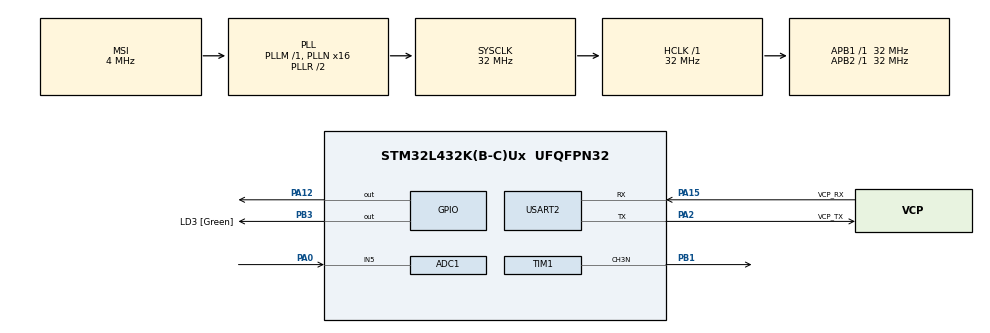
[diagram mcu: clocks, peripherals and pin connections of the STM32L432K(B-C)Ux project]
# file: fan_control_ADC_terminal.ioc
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ADC1.Channel-0\#ChannelRegularConversion=ADC_CHANNEL_5
ADC1.NbrOfConversionFlag=1
ADC1.OffsetNumber-0\#ChannelRegularConversion=ADC_OFFSET_NONE
ADC1.Rank-0\#ChannelRegularConversion=1
ADC1.SamplingTime-0\#ChannelRegularConversion=ADC_SAMPLETIME_2CYCLES_5
ADC1.master=1
Mcu.Family=STM32L4
Mcu.Name=STM32L432K(B-C)Ux
Mcu.Package=UFQFPN32
NVIC.PriorityGroup=NVIC_PRIORITYGROUP_4
NVIC.TIM1_UP_TIM16_IRQn=true\:0\:0\:false\:false\:true\:true\:true\:true
PA0.Signal=ADCx_IN5
PA12.Signal=GPIO_Output
PA13\ (JTMS-SWDIO).GPIO_Label=SWDIO
PA13\ (JTMS-SWDIO).Mode=Serial_Wire
PA13\ (JTMS-SWDIO).Signal=SYS_JTMS-SWDIO
PA14\ (JTCK-SWCLK).GPIO_Label=SWCLK
PA14\ (JTCK-SWCLK).Mode=Serial_Wire
PA14\ (JTCK-SWCLK).Signal=SYS_JTCK-SWCLK
PA15\ (JTDI).GPIO_Label=VCP_RX
PA15\ (JTDI).Mode=Asynchronous
PA15\ (JTDI).Signal=USART2_RX
PA2.GPIO_Label=VCP_TX
PA2.Mode=Asynchronous
PA2.Signal=USART2_TX
PB1.Mode=PWM Generation3 CH3N
PB1.Signal=TIM1_CH3N
PB3\ (JTDO-TRACESWO).GPIO_Label=LD3 [Green]
PB3\ (JTDO-TRACESWO).Signal=GPIO_Output
PC14-OSC32_IN\ (PC14).Mode=LSE-External-Oscillator
PC14-OSC32_IN\ (PC14).Signal=RCC_OSC32_IN
PC15-OSC32_OUT\ (PC15).Mode=LSE-External-Oscillator
PC15-OSC32_OUT\ (PC15).Signal=RCC_OSC32_OUT
ProjectManager.HeapSize=0x200
ProjectManager.StackSize=0x400
ProjectManager.TargetToolchain=STM32CubeIDE
RCC.ADCFreq_Value=32000000
RCC.AHBFreq_Value=32000000
RCC.APB1Freq_Value=32000000
RCC.APB1TimFreq_Value=32000000
RCC.APB2Freq_Value=32000000
RCC.APB2TimFreq_Value=32000000
RCC.CortexFreq_Value=32000000
RCC.HCLKFreq_Value=32000000
RCC.HSE_VALUE=8000000
RCC.HSI16_VALUE=16000000
RCC.HSI48_VALUE=48000000
RCC.HSI_VALUE=16000000
RCC.MSI_VALUE=4000000
RCC.PLLMUL=RCC_PLLMUL_4
RCC.PLLN=16
RCC.PLLSAI1N=16
RCC.SYSCLKFreq_VALUE=32000000
RCC.SYSCLKSource=RCC_SYSCLKSOURCE_PLLCLK
RCC.USBFreq_Value=32000000
RCC.VCOOutputFreq_Value=64000000
SH.ADCx_IN5.0=ADC1_IN5,IN5-Single-Ended
TIM1.Channel-PWM\ Generation3\ CH3N=TIM_CHANNEL_3
TIM1.Period=255
TIM16.Period=32000-1
TIM16.Prescaler=1000-1
USART2.VirtualMode-Asynchronous=VM_ASYNC
VP_TIM16_VS_ClockSourceINT.Mode=Enable_Timer
VP_TIM1_VS_ClockSourceINT.Mode=Internal
board=NUCLEO-L432KC

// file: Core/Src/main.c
/* USER CODE BEGIN Header */
/**
  ******************************************************************************
  * @file           : main.c
  * @brief          : Main program body
  ******************************************************************************
  * @attention
  *
  * Copyright (c) 2024 STMicroelectronics.
  * All rights reserved.
  *
  * This software is licensed under terms that can be found in the LICENSE file
  * in the root directory of this software component.
  * If no LICENSE file comes with this software, it is provided AS-IS.
  *
  ******************************************************************************
  */
/* USER CODE END Header */
#include "main.h"

/* USER CODE BEGIN Includes */
#include "uart_read_app.h"
#include "uart_send_app.h"
#include "adc_read_app.h"
#include "conversions.h"
/* USER CODE END Includes */

ADC_HandleTypeDef hadc1;

TIM_HandleTypeDef htim1;
TIM_HandleTypeDef htim16;

UART_HandleTypeDef huart2;

void SystemClock_Config(void);
static void MX_GPIO_Init(void);
static void MX_USART2_UART_Init(void);
static void MX_TIM1_Init(void);
static void MX_TIM16_Init(void);
static void MX_ADC1_Init(void);

/* USER CODE BEGIN 0 */
int counter = 0;
int methodChosen = 0;
int adc_value = 0;
int percentage = 0;

int dataReceivedBool = 0;
int method1Bool = 1;
int method2Bool = 1;

uint8_t nextline[] = "\n";

/**
  * @brief  Controls the fan using potentiometer readings.
  * @param  None
  * @return None
  */

void PotControl(void)
{
    char str[20];

    adc_value = adc_read() / 16;

    if (adc_value > 0 && adc_value < 255)
    {
        __HAL_TIM_SET_COMPARE(&htim1, TIM_CHANNEL_3, adc_value);

        adc_value = adc_value / 2.55;
        int_to_string(adc_value, str);

        uint8_t msg1[] = "Potentiometer is set to %";
        HAL_UART_Transmit(&huart2, msg1, sizeof(msg1) - 1, HAL_MAX_DELAY);

        transmit_string(&huart2, str);

        HAL_UART_Transmit(&huart2, nextline, sizeof(nextline) - 1, HAL_MAX_DELAY);
    }
    else
    {
        uint8_t msg[] = "Readings are out of bounds! Please move the potentiometer to the readable zone.\n";
        HAL_UART_Transmit(&huart2, msg, sizeof(msg) - 1, HAL_MAX_DELAY);
    }
}

/**
  * @brief  Reads the terminal input and stores it in a variable. Resets the timer
  * @param  None
  * @return None
  */
void TerminalControl(void)
{
    percentage = read_data(&huart2);

    uint8_t msg5[] = "Input received. Fan speed will be set in 5 seconds.\n";
    HAL_UART_Transmit(&huart2, msg5, sizeof(msg5) - 1, HAL_MAX_DELAY);

    __HAL_TIM_SET_COUNTER(&htim16, 0);

    dataReceivedBool = 1;

    counter = 0;
}

/**
  * @brief  Period elapsed callback in non-blocking mode. Time depended operations happen here
  * @param  htim: TIM handle
  * @return None
  */
void HAL_TIM_PeriodElapsedCallback(TIM_HandleTypeDef *htim)
{
    if(htim == &htim16)
    {
        HAL_GPIO_TogglePin(GPIOA,GPIO_PIN_12);

        if (methodChosen == 2)
        {
            PotControl();
        }

        counter++;
    }

    if(counter == 5)
    {
        if (methodChosen == 1 && dataReceivedBool == 1)
        {
            char str[20];

            __HAL_TIM_SET_COMPARE(&htim1, TIM_CHANNEL_3, percentage * 2.55);

            uint8_t msg3[] = "Fan speed has been set to %";
            HAL_UART_Transmit(&huart2, msg3, sizeof(msg3) - 1, HAL_MAX_DELAY);

            int_to_string(percentage, str);
            transmit_string(&huart2, str);

            HAL_UART_Transmit(&huart2, nextline, sizeof(nextline) - 1, HAL_MAX_DELAY);
            HAL_UART_Transmit(&huart2, nextline, sizeof(nextline) - 1, HAL_MAX_DELAY);

            dataReceivedBool = 0;

            uint8_t msg4[] = "Please enter the desired fan speed (%)\n";
            HAL_UART_Transmit(&huart2, msg4, sizeof(msg4) - 1, HAL_MAX_DELAY);

            counter = 0;
        }
    }
}

/**
  * @brief  Main program loop
  * @param  None
  * @return None
  */
void ProgramLoop(void)
{
    if (methodChosen == 0)
    {
        uint8_t msg[] = "Please Enter 1 for fan control via terminal or 2 for fan control via potentiometer:\n";
        HAL_UART_Transmit(&huart2, msg, sizeof(msg) - 1, HAL_MAX_DELAY);

        methodChosen = read_data(&huart2);
    }
    else if (methodChosen == 1)
    {
        if (method1Bool == 1)
        {
            uint8_t msg4[] = "You have chosen the terminal control! Please enter the desired fan speed (%)\n";
            HAL_UART_Transmit(&huart2, msg4, sizeof(msg4) - 1, HAL_MAX_DELAY);

            method1Bool = 0;
        }

        TerminalControl();
    }
    else if (methodChosen == 2)
    {
        if (method2Bool == 1)
        {
            uint8_t msg4[] = "You have chosen the terminal control! Please enter the desired fan speed (%)\n";
            HAL_UART_Transmit(&huart2, msg4, sizeof(msg4) - 1, HAL_MAX_DELAY);

            method2Bool = 0;
        }
    }
    else
    {
        methodChosen = 0;
    }
}

/* USER CODE END 0 */

int main(void)
{

  /* MCU Configuration--------------------------------------------------------*/

  /* Reset of all peripherals, Initializes the Flash interface and the Systick. */
  HAL_Init();

  /* Configure the system clock */
  SystemClock_Config();

  /* Initialize all configured peripherals */
  MX_GPIO_Init();
  MX_USART2_UART_Init();
  MX_TIM1_Init();
  MX_TIM16_Init();
  MX_ADC1_Init();
  /* USER CODE BEGIN 2 */
  HAL_TIM_Base_Start_IT(&htim16);
  HAL_TIMEx_PWMN_Start(&htim1, TIM_CHANNEL_3);
  /* USER CODE END 2 */

  /* Infinite loop */
  while (1)
  {
	ProgramLoop();
  }
}

void SystemClock_Config(void)
{
  RCC_OscInitTypeDef RCC_OscInitStruct = {0};
  RCC_ClkInitTypeDef RCC_ClkInitStruct = {0};

  /** Configure the main internal regulator output voltage
  */
  if (HAL_PWREx_ControlVoltageScaling(PWR_REGULATOR_VOLTAGE_SCALE1) != HAL_OK)
  {
    Error_Handler();
  }

  /** Configure LSE Drive Capability
  */
  HAL_PWR_EnableBkUpAccess();
  __HAL_RCC_LSEDRIVE_CONFIG(RCC_LSEDRIVE_LOW);

  /** Initializes the RCC Oscillators according to the specified parameters
  * in the RCC_OscInitTypeDef structure.
  */
  RCC_OscInitStruct.OscillatorType = RCC_OSCILLATORTYPE_LSE|RCC_OSCILLATORTYPE_MSI;
  RCC_OscInitStruct.LSEState = RCC_LSE_ON;
  RCC_OscInitStruct.MSIState = RCC_MSI_ON;
  RCC_OscInitStruct.MSICalibrationValue = 0;
  RCC_OscInitStruct.MSIClockRange = RCC_MSIRANGE_6;
  RCC_OscInitStruct.PLL.PLLState = RCC_PLL_ON;
  RCC_OscInitStruct.PLL.PLLSource = RCC_PLLSOURCE_MSI;
  RCC_OscInitStruct.PLL.PLLM = 1;
  RCC_OscInitStruct.PLL.PLLN = 16;
  RCC_OscInitStruct.PLL.PLLP = RCC_PLLP_DIV7;
  RCC_OscInitStruct.PLL.PLLQ = RCC_PLLQ_DIV2;
  RCC_OscInitStruct.PLL.PLLR = RCC_PLLR_DIV2;
  if (HAL_RCC_OscConfig(&RCC_OscInitStruct) != HAL_OK)
  {
    Error_Handler();
  }

  /** Initializes the CPU, AHB and APB buses clocks
  */
  RCC_ClkInitStruct.ClockType = RCC_CLOCKTYPE_HCLK|RCC_CLOCKTYPE_SYSCLK
                              |RCC_CLOCKTYPE_PCLK1|RCC_CLOCKTYPE_PCLK2;
  RCC_ClkInitStruct.SYSCLKSource = RCC_SYSCLKSOURCE_PLLCLK;
  RCC_ClkInitStruct.AHBCLKDivider = RCC_SYSCLK_DIV1;
  RCC_ClkInitStruct.APB1CLKDivider = RCC_HCLK_DIV1;
  RCC_ClkInitStruct.APB2CLKDivider = RCC_HCLK_DIV1;

  if (HAL_RCC_ClockConfig(&RCC_ClkInitStruct, FLASH_LATENCY_1) != HAL_OK)
  {
    Error_Handler();
  }

  /** Enable MSI Auto calibration
  */
  HAL_RCCEx_EnableMSIPLLMode();
}

static void MX_ADC1_Init(void)
{

  ADC_ChannelConfTypeDef sConfig = {0};

  /** Common config
  */
  hadc1.Instance = ADC1;
  hadc1.Init.ClockPrescaler = ADC_CLOCK_ASYNC_DIV1;
  hadc1.Init.Resolution = ADC_RESOLUTION_12B;
  hadc1.Init.DataAlign = ADC_DATAALIGN_RIGHT;
  hadc1.Init.ScanConvMode = ADC_SCAN_DISABLE;
  hadc1.Init.EOCSelection = ADC_EOC_SINGLE_CONV;
  hadc1.Init.LowPowerAutoWait = DISABLE;
  hadc1.Init.ContinuousConvMode = DISABLE;
  hadc1.Init.NbrOfConversion = 1;
  hadc1.Init.DiscontinuousConvMode = DISABLE;
  hadc1.Init.ExternalTrigConv = ADC_SOFTWARE_START;
  hadc1.Init.ExternalTrigConvEdge = ADC_EXTERNALTRIGCONVEDGE_NONE;
  hadc1.Init.DMAContinuousRequests = DISABLE;
  hadc1.Init.Overrun = ADC_OVR_DATA_PRESERVED;
  hadc1.Init.OversamplingMode = DISABLE;
  if (HAL_ADC_Init(&hadc1) != HAL_OK)
  {
    Error_Handler();
  }

  /** Configure Regular Channel
  */
  sConfig.Channel = ADC_CHANNEL_5;
  sConfig.Rank = ADC_REGULAR_RANK_1;
  sConfig.SamplingTime = ADC_SAMPLETIME_2CYCLES_5;
  sConfig.SingleDiff = ADC_SINGLE_ENDED;
  sConfig.OffsetNumber = ADC_OFFSET_NONE;
  sConfig.Offset = 0;
  if (HAL_ADC_ConfigChannel(&hadc1, &sConfig) != HAL_OK)
  {
    Error_Handler();
  }

}

static void MX_TIM1_Init(void)
{

  TIM_ClockConfigTypeDef sClockSourceConfig = {0};
  TIM_MasterConfigTypeDef sMasterConfig = {0};
  TIM_OC_InitTypeDef sConfigOC = {0};
  TIM_BreakDeadTimeConfigTypeDef sBreakDeadTimeConfig = {0};

  htim1.Instance = TIM1;
  htim1.Init.Prescaler = 0;
  htim1.Init.CounterMode = TIM_COUNTERMODE_UP;
  htim1.Init.Period = 255;
  htim1.Init.ClockDivision = TIM_CLOCKDIVISION_DIV1;
  htim1.Init.RepetitionCounter = 0;
  htim1.Init.AutoReloadPreload = TIM_AUTORELOAD_PRELOAD_DISABLE;
  if (HAL_TIM_Base_Init(&htim1) != HAL_OK)
  {
    Error_Handler();
  }
  sClockSourceConfig.ClockSource = TIM_CLOCKSOURCE_INTERNAL;
  if (HAL_TIM_ConfigClockSource(&htim1, &sClockSourceConfig) != HAL_OK)
  {
    Error_Handler();
  }
  if (HAL_TIM_PWM_Init(&htim1) != HAL_OK)
  {
    Error_Handler();
  }
  sMasterConfig.MasterOutputTrigger = TIM_TRGO_RESET;
  sMasterConfig.MasterOutputTrigger2 = TIM_TRGO2_RESET;
  sMasterConfig.MasterSlaveMode = TIM_MASTERSLAVEMODE_DISABLE;
  if (HAL_TIMEx_MasterConfigSynchronization(&htim1, &sMasterConfig) != HAL_OK)
  {
    Error_Handler();
  }
  sConfigOC.OCMode = TIM_OCMODE_PWM1;
  sConfigOC.Pulse = 0;
  sConfigOC.OCPolarity = TIM_OCPOLARITY_HIGH;
  sConfigOC.OCNPolarity = TIM_OCNPOLARITY_HIGH;
  sConfigOC.OCFastMode = TIM_OCFAST_DISABLE;
  sConfigOC.OCIdleState = TIM_OCIDLESTATE_RESET;
  sConfigOC.OCNIdleState = TIM_OCNIDLESTATE_RESET;
  if (HAL_TIM_PWM_ConfigChannel(&htim1, &sConfigOC, TIM_CHANNEL_3) != HAL_OK)
  {
    Error_Handler();
  }
  sBreakDeadTimeConfig.OffStateRunMode = TIM_OSSR_DISABLE;
  sBreakDeadTimeConfig.OffStateIDLEMode = TIM_OSSI_DISABLE;
  sBreakDeadTimeConfig.LockLevel = TIM_LOCKLEVEL_OFF;
  sBreakDeadTimeConfig.DeadTime = 0;
  sBreakDeadTimeConfig.BreakState = TIM_BREAK_DISABLE;
  sBreakDeadTimeConfig.BreakPolarity = TIM_BREAKPOLARITY_HIGH;
  sBreakDeadTimeConfig.BreakFilter = 0;
  sBreakDeadTimeConfig.Break2State = TIM_BREAK2_DISABLE;
  sBreakDeadTimeConfig.Break2Polarity = TIM_BREAK2POLARITY_HIGH;
  sBreakDeadTimeConfig.Break2Filter = 0;
  sBreakDeadTimeConfig.AutomaticOutput = TIM_AUTOMATICOUTPUT_DISABLE;
  if (HAL_TIMEx_ConfigBreakDeadTime(&htim1, &sBreakDeadTimeConfig) != HAL_OK)
  {
    Error_Handler();
  }
  HAL_TIM_MspPostInit(&htim1);

}

static void MX_TIM16_Init(void)
{

  htim16.Instance = TIM16;
  htim16.Init.Prescaler = 1000-1;
  htim16.Init.CounterMode = TIM_COUNTERMODE_UP;
  htim16.Init.Period = 32000-1;
  htim16.Init.ClockDivision = TIM_CLOCKDIVISION_DIV1;
  htim16.Init.RepetitionCounter = 0;
  htim16.Init.AutoReloadPreload = TIM_AUTORELOAD_PRELOAD_DISABLE;
  if (HAL_TIM_Base_Init(&htim16) != HAL_OK)
  {
    Error_Handler();
  }

}

static void MX_USART2_UART_Init(void)
{

  huart2.Instance = USART2;
  huart2.Init.BaudRate = 115200;
  huart2.Init.WordLength = UART_WORDLENGTH_8B;
  huart2.Init.StopBits = UART_STOPBITS_1;
  huart2.Init.Parity = UART_PARITY_NONE;
  huart2.Init.Mode = UART_MODE_TX_RX;
  huart2.Init.HwFlowCtl = UART_HWCONTROL_NONE;
  huart2.Init.OverSampling = UART_OVERSAMPLING_16;
  huart2.Init.OneBitSampling = UART_ONE_BIT_SAMPLE_DISABLE;
  huart2.AdvancedInit.AdvFeatureInit = UART_ADVFEATURE_NO_INIT;
  if (HAL_UART_Init(&huart2) != HAL_OK)
  {
    Error_Handler();
  }

}

static void MX_GPIO_Init(void)
{
  GPIO_InitTypeDef GPIO_InitStruct = {0};

  /* GPIO Ports Clock Enable */
  __HAL_RCC_GPIOC_CLK_ENABLE();
  __HAL_RCC_GPIOA_CLK_ENABLE();
  __HAL_RCC_GPIOB_CLK_ENABLE();

  /*Configure GPIO pin Output Level */
  HAL_GPIO_WritePin(GPIOA, GPIO_PIN_12, GPIO_PIN_RESET);

  /*Configure GPIO pin Output Level */
  HAL_GPIO_WritePin(LD3_GPIO_Port, LD3_Pin, GPIO_PIN_RESET);

  /*Configure GPIO pin : PA12 */
  GPIO_InitStruct.Pin = GPIO_PIN_12;
  GPIO_InitStruct.Mode = GPIO_MODE_OUTPUT_PP;
  GPIO_InitStruct.Pull = GPIO_NOPULL;
  GPIO_InitStruct.Speed = GPIO_SPEED_FREQ_LOW;
  HAL_GPIO_Init(GPIOA, &GPIO_InitStruct);

  /*Configure GPIO pin : LD3_Pin */
  GPIO_InitStruct.Pin = LD3_Pin;
  GPIO_InitStruct.Mode = GPIO_MODE_OUTPUT_PP;
  GPIO_InitStruct.Pull = GPIO_NOPULL;
  GPIO_InitStruct.Speed = GPIO_SPEED_FREQ_LOW;
  HAL_GPIO_Init(LD3_GPIO_Port, &GPIO_InitStruct);

}

void Error_Handler(void)
{
  __disable_irq();
  while (1)
  {
  }
}
